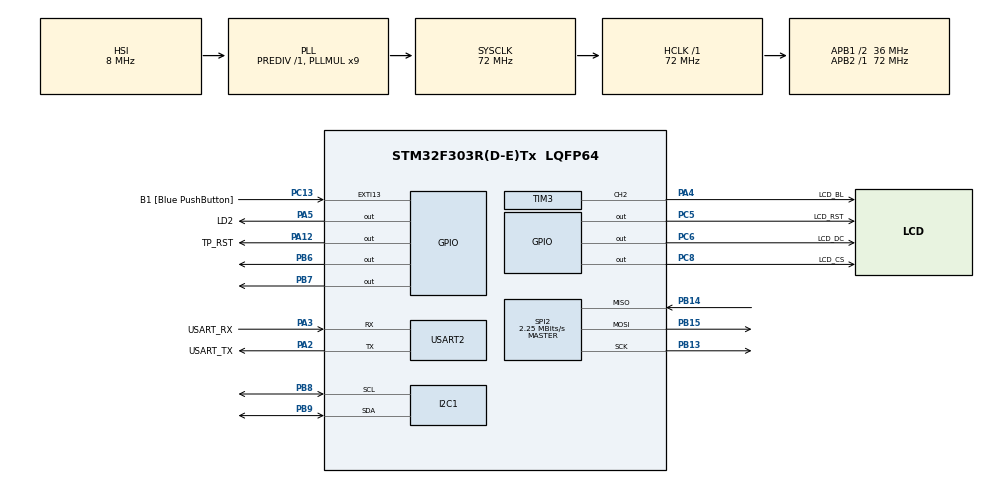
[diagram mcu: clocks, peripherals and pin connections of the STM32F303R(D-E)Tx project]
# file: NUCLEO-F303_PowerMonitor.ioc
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Dma.Request0=SPI2_TX
Dma.SPI2_TX.0.Direction=DMA_MEMORY_TO_PERIPH
Dma.SPI2_TX.0.Instance=DMA1_Channel5
Dma.SPI2_TX.0.MemDataAlignment=DMA_MDATAALIGN_BYTE
Dma.SPI2_TX.0.MemInc=DMA_MINC_ENABLE
Dma.SPI2_TX.0.Mode=DMA_NORMAL
Dma.SPI2_TX.0.PeriphDataAlignment=DMA_PDATAALIGN_BYTE
Dma.SPI2_TX.0.PeriphInc=DMA_PINC_DISABLE
Dma.SPI2_TX.0.Priority=DMA_PRIORITY_LOW
I2C1.Timing=0x00201D2B
Mcu.Family=STM32F3
Mcu.Name=STM32F303R(D-E)Tx
Mcu.Package=LQFP64
NVIC.DMA1_Channel5_IRQn=true\:0\:0\:false\:false\:true\:false\:true\:true
NVIC.PriorityGroup=NVIC_PRIORITYGROUP_0
PA12.GPIO_Label=TP_RST
PA12.Signal=GPIO_Output
PA13.GPIO_Label=TMS
PA13.Mode=Serial_Wire
PA13.Signal=SYS_JTMS-SWDIO
PA14.GPIO_Label=TCK
PA14.Mode=Serial_Wire
PA14.Signal=SYS_JTCK-SWCLK
PA2.GPIO_Label=USART_TX
PA2.GPIO_Mode=GPIO_MODE_AF_PP
PA2.GPIO_PuPd=GPIO_NOPULL
PA2.GPIO_Speed=GPIO_SPEED_FREQ_LOW
PA2.Mode=Asynchronous
PA2.Signal=USART2_TX
PA3.GPIO_Label=USART_RX
PA3.GPIO_Mode=GPIO_MODE_AF_PP
PA3.GPIO_PuPd=GPIO_NOPULL
PA3.GPIO_Speed=GPIO_SPEED_FREQ_LOW
PA3.Mode=Asynchronous
PA3.Signal=USART2_RX
PA4.GPIO_Label=LCD_BL
PA4.Signal=S_TIM3_CH2
PA5.GPIO_Label=LD2
PA5.Signal=GPIO_Output
PB13.Mode=Full_Duplex_Master
PB13.Signal=SPI2_SCK
PB14.Mode=Full_Duplex_Master
PB14.Signal=SPI2_MISO
PB15.Mode=Full_Duplex_Master
PB15.Signal=SPI2_MOSI
PB3.GPIO_Label=SWO
PB3.Signal=SYS_JTDO-TRACESWO
PB6.Signal=GPIO_Output
PB7.Signal=GPIO_Output
PB8.GPIO_Pu=GPIO_NOPULL
PB8.Mode=I2C
PB8.Signal=I2C1_SCL
PB9.GPIO_Pu=GPIO_NOPULL
PB9.Mode=I2C
PB9.Signal=I2C1_SDA
PC13.GPIO_Label=B1 [Blue PushButton]
PC13.GPIO_ModeDefaultEXTI=GPIO_MODE_IT_FALLING
PC13.Signal=GPXTI13
PC14-OSC32_IN.Mode=LSE-External-Oscillator
PC14-OSC32_IN.Signal=RCC_OSC32_IN
PC15-OSC32_OUT.Mode=LSE-External-Oscillator
PC15-OSC32_OUT.Signal=RCC_OSC32_OUT
PC5.GPIO_Label=LCD_RST
PC5.GPIO_Speed=GPIO_SPEED_FREQ_HIGH
PC5.Signal=GPIO_Output
PC6.GPIO_Label=LCD_DC
PC6.GPIO_Speed=GPIO_SPEED_FREQ_HIGH
PC6.Signal=GPIO_Output
PC8.GPIO_Label=LCD_CS
PC8.GPIO_Speed=GPIO_SPEED_FREQ_HIGH
PC8.Signal=GPIO_Output
PF0-OSC_IN.Mode=HSE-External-Clock-Source
PF0-OSC_IN.Signal=RCC_OSC_IN
PF1-OSC_OUT.Signal=RCC_OSC_OUT
ProjectManager.HeapSize=0x200
ProjectManager.StackSize=0x400
ProjectManager.TargetToolchain=CMake
RCC.AHBFreq_Value=72000000
RCC.APB1CLKDivider=RCC_HCLK_DIV2
RCC.APB1Freq_Value=36000000
RCC.APB1TimFreq_Value=72000000
RCC.APB2Freq_Value=72000000
RCC.APB2TimFreq_Value=72000000
RCC.CortexFreq_Value=72000000
RCC.HCLKFreq_Value=72000000
RCC.HSE_VALUE=8000000
RCC.HSI_VALUE=8000000
RCC.PLLM=8
RCC.PLLMUL=RCC_PLL_MUL9
RCC.PLLN=336
RCC.PLLP=RCC_PLLP_DIV4
RCC.PLLQ=7
RCC.RCC_PLLsource_Clock_Source_FROM_HSE=RCC_HSE_PREDIV_DIV2
RCC.SYSCLKFreq_VALUE=72000000
RCC.SYSCLKSourceVirtual=RCC_SYSCLKSOURCE_PLLCLK
RCC.USBFreq_Value=72000000
SH.S_TIM3_CH2.0=TIM3_CH2,PWM Generation2 CH2
SPI2.BaudRatePrescaler=SPI_BAUDRATEPRESCALER_16
SPI2.CalculateBaudRate=2.25 MBits/s
SPI2.DataSize=SPI_DATASIZE_8BIT
SPI2.Direction=SPI_DIRECTION_2LINES
SPI2.Mode=SPI_MODE_MASTER
SPI2.VirtualType=VM_MASTER
TIM3.Channel-PWM\ Generation2\ CH2=TIM_CHANNEL_2
TIM3.Period=1000-1
TIM3.Prescaler=72-1
TIM3.Pulse-PWM\ Generation2\ CH2=500
USART2.VirtualMode-Asynchronous=VM_ASYNC
VP_TIM3_VS_ClockSourceINT.Mode=Internal
board=NUCLEO-F303RE

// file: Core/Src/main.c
/* USER CODE BEGIN Header */
/**
  ******************************************************************************
  * @file           : main.c
  * @brief          : Main program body
  ******************************************************************************
  * @attention
  *
  * Copyright (c) 2026 STMicroelectronics.
  * All rights reserved.
  *
  * This software is licensed under terms that can be found in the LICENSE file
  * in the root directory of this software component.
  * If no LICENSE file comes with this software, it is provided AS-IS.
  *
  ******************************************************************************
  */
/* USER CODE END Header */
#include "main.h"

/* USER CODE BEGIN Includes */
#include "lvgl.h"
#include "Display_Driver.h"
#include "ui.h"
#include "screens.h"
#include "stm32f3xx_hal.h"
/* USER CODE END Includes */

I2C_HandleTypeDef hi2c1;

SPI_HandleTypeDef hspi2;
DMA_HandleTypeDef hdma_spi2_tx;

TIM_HandleTypeDef htim3;

UART_HandleTypeDef huart2;

void SystemClock_Config(void);
static void MX_GPIO_Init(void);
static void MX_DMA_Init(void);
static void MX_I2C1_Init(void);
static void MX_USART2_UART_Init(void);
static void MX_TIM3_Init(void);
static void MX_SPI2_Init(void);

int main(void)
{

  /* MCU Configuration--------------------------------------------------------*/

  /* Reset of all peripherals, Initializes the Flash interface and the Systick. */
  HAL_Init();

  /* Configure the system clock */
  SystemClock_Config();

  /* Initialize all configured peripherals */
  MX_GPIO_Init();
  MX_DMA_Init();
  MX_I2C1_Init();
  MX_USART2_UART_Init();
  MX_TIM3_Init();
  MX_SPI2_Init();
  /* USER CODE BEGIN 2 */
  lv_init();

  Display_Config_HandleTypeDef disp_cfg = {
    .lcd = {
      .hspi       = &hspi2,
      .CS_Port    = LCD_CS_GPIO_Port,
      .CS_Pin     = LCD_CS_Pin,
      .DC_Port    = LCD_DC_GPIO_Port,
      .DC_Pin     = LCD_DC_Pin,
      .RST_Port   = LCD_RST_GPIO_Port,
      .RST_Pin    = LCD_RST_Pin,
      .htim_bl    = &htim3,
      .Channel_bl = TIM_CHANNEL_2
    },
    .touch = {
      .hi2c       = &hi2c1,
      .RST_Port   = TP_RST_GPIO_Port,
      .RST_Pin    = TP_RST_Pin,
      .INT_Port   = NULL,
      .INT_Pin    = 0
    }
  };

  Display_Init(&disp_cfg);
  Display_SetBrightness(100);

  /* Prueba directa: Pintar la pantalla de azul puro (0x001F) */
  ST7789_TestFill(0x001F);

  ui_init();

  uint8_t found_addr = 0;
  for (uint8_t addr = 1; addr < 128; addr++)
  {
      if (HAL_I2C_IsDeviceReady(&hi2c1, (addr << 1), 2, 20) == HAL_OK) {
          found_addr = addr;
          break;
      }
  }

  uint16_t ver = CST328_ReadConfig();
  /* 4. Mostrar el diagnóstico directamente en el botón */
  if (found_addr != 0) {
      lv_label_set_text_fmt(objects.obj1, "I2C: 0x%02X | Ver: 0x%04X", found_addr, ver);
  } else {
      lv_label_set_text(objects.obj1, "I2C: NO DEVICE FOUND");
  }
  /* USER CODE END 2 */

  /* Infinite loop */
  /* USER CODE BEGIN WHILE */
  while (1)
  {
    ui_tick();           /* Manejador de pantallas/animaciones de EEZ Studio */
    lv_timer_handler();  /* Manejador principal de LVGL */
    HAL_Delay(5);
    /* USER CODE END WHILE */

  }
}

void SystemClock_Config(void)
{
  RCC_OscInitTypeDef RCC_OscInitStruct = {0};
  RCC_ClkInitTypeDef RCC_ClkInitStruct = {0};
  RCC_PeriphCLKInitTypeDef PeriphClkInit = {0};

  /** Initializes the RCC Oscillators according to the specified parameters
  * in the RCC_OscInitTypeDef structure.
  */
  RCC_OscInitStruct.OscillatorType = RCC_OSCILLATORTYPE_HSI;
  RCC_OscInitStruct.HSIState = RCC_HSI_ON;
  RCC_OscInitStruct.HSICalibrationValue = RCC_HSICALIBRATION_DEFAULT;
  RCC_OscInitStruct.PLL.PLLState = RCC_PLL_ON;
  RCC_OscInitStruct.PLL.PLLSource = RCC_PLLSOURCE_HSI;
  RCC_OscInitStruct.PLL.PLLMUL = RCC_PLL_MUL9;
  RCC_OscInitStruct.PLL.PREDIV = RCC_PREDIV_DIV1;
  if (HAL_RCC_OscConfig(&RCC_OscInitStruct) != HAL_OK)
  {
    Error_Handler();
  }

  /** Initializes the CPU, AHB and APB buses clocks
  */
  RCC_ClkInitStruct.ClockType = RCC_CLOCKTYPE_HCLK|RCC_CLOCKTYPE_SYSCLK
                              |RCC_CLOCKTYPE_PCLK1|RCC_CLOCKTYPE_PCLK2;
  RCC_ClkInitStruct.SYSCLKSource = RCC_SYSCLKSOURCE_PLLCLK;
  RCC_ClkInitStruct.AHBCLKDivider = RCC_SYSCLK_DIV1;
  RCC_ClkInitStruct.APB1CLKDivider = RCC_HCLK_DIV2;
  RCC_ClkInitStruct.APB2CLKDivider = RCC_HCLK_DIV1;

  if (HAL_RCC_ClockConfig(&RCC_ClkInitStruct, FLASH_LATENCY_2) != HAL_OK)
  {
    Error_Handler();
  }
  PeriphClkInit.PeriphClockSelection = RCC_PERIPHCLK_USART2|RCC_PERIPHCLK_I2C1
                              |RCC_PERIPHCLK_TIM34;
  PeriphClkInit.Usart2ClockSelection = RCC_USART2CLKSOURCE_PCLK1;
  PeriphClkInit.I2c1ClockSelection = RCC_I2C1CLKSOURCE_HSI;
  PeriphClkInit.Tim34ClockSelection = RCC_TIM34CLK_HCLK;
  if (HAL_RCCEx_PeriphCLKConfig(&PeriphClkInit) != HAL_OK)
  {
    Error_Handler();
  }
}

static void MX_I2C1_Init(void)
{

  hi2c1.Instance = I2C1;
  hi2c1.Init.Timing = 0x00201D2B;
  hi2c1.Init.OwnAddress1 = 0;
  hi2c1.Init.AddressingMode = I2C_ADDRESSINGMODE_7BIT;
  hi2c1.Init.DualAddressMode = I2C_DUALADDRESS_DISABLE;
  hi2c1.Init.OwnAddress2 = 0;
  hi2c1.Init.OwnAddress2Masks = I2C_OA2_NOMASK;
  hi2c1.Init.GeneralCallMode = I2C_GENERALCALL_DISABLE;
  hi2c1.Init.NoStretchMode = I2C_NOSTRETCH_DISABLE;
  if (HAL_I2C_Init(&hi2c1) != HAL_OK)
  {
    Error_Handler();
  }

  /** Configure Analogue filter
  */
  if (HAL_I2CEx_ConfigAnalogFilter(&hi2c1, I2C_ANALOGFILTER_ENABLE) != HAL_OK)
  {
    Error_Handler();
  }

  /** Configure Digital filter
  */
  if (HAL_I2CEx_ConfigDigitalFilter(&hi2c1, 0) != HAL_OK)
  {
    Error_Handler();
  }

}

static void MX_SPI2_Init(void)
{

  /* SPI2 parameter configuration*/
  hspi2.Instance = SPI2;
  hspi2.Init.Mode = SPI_MODE_MASTER;
  hspi2.Init.Direction = SPI_DIRECTION_2LINES;
  hspi2.Init.DataSize = SPI_DATASIZE_8BIT;
  hspi2.Init.CLKPolarity = SPI_POLARITY_LOW;
  hspi2.Init.CLKPhase = SPI_PHASE_1EDGE;
  hspi2.Init.NSS = SPI_NSS_SOFT;
  hspi2.Init.BaudRatePrescaler = SPI_BAUDRATEPRESCALER_16;
  hspi2.Init.FirstBit = SPI_FIRSTBIT_MSB;
  hspi2.Init.TIMode = SPI_TIMODE_DISABLE;
  hspi2.Init.CRCCalculation = SPI_CRCCALCULATION_DISABLE;
  hspi2.Init.CRCPolynomial = 7;
  hspi2.Init.CRCLength = SPI_CRC_LENGTH_DATASIZE;
  hspi2.Init.NSSPMode = SPI_NSS_PULSE_ENABLE;
  if (HAL_SPI_Init(&hspi2) != HAL_OK)
  {
    Error_Handler();
  }

}

static void MX_TIM3_Init(void)
{

  TIM_ClockConfigTypeDef sClockSourceConfig = {0};
  TIM_MasterConfigTypeDef sMasterConfig = {0};
  TIM_OC_InitTypeDef sConfigOC = {0};

  htim3.Instance = TIM3;
  htim3.Init.Prescaler = 72-1;
  htim3.Init.CounterMode = TIM_COUNTERMODE_UP;
  htim3.Init.Period = 1000-1;
  htim3.Init.ClockDivision = TIM_CLOCKDIVISION_DIV1;
  htim3.Init.AutoReloadPreload = TIM_AUTORELOAD_PRELOAD_DISABLE;
  if (HAL_TIM_Base_Init(&htim3) != HAL_OK)
  {
    Error_Handler();
  }
  sClockSourceConfig.ClockSource = TIM_CLOCKSOURCE_INTERNAL;
  if (HAL_TIM_ConfigClockSource(&htim3, &sClockSourceConfig) != HAL_OK)
  {
    Error_Handler();
  }
  if (HAL_TIM_PWM_Init(&htim3) != HAL_OK)
  {
    Error_Handler();
  }
  sMasterConfig.MasterOutputTrigger = TIM_TRGO_RESET;
  sMasterConfig.MasterSlaveMode = TIM_MASTERSLAVEMODE_DISABLE;
  if (HAL_TIMEx_MasterConfigSynchronization(&htim3, &sMasterConfig) != HAL_OK)
  {
    Error_Handler();
  }
  sConfigOC.OCMode = TIM_OCMODE_PWM1;
  sConfigOC.Pulse = 500;
  sConfigOC.OCPolarity = TIM_OCPOLARITY_HIGH;
  sConfigOC.OCFastMode = TIM_OCFAST_DISABLE;
  if (HAL_TIM_PWM_ConfigChannel(&htim3, &sConfigOC, TIM_CHANNEL_2) != HAL_OK)
  {
    Error_Handler();
  }
  HAL_TIM_MspPostInit(&htim3);

}

static void MX_USART2_UART_Init(void)
{

  huart2.Instance = USART2;
  huart2.Init.BaudRate = 38400;
  huart2.Init.WordLength = UART_WORDLENGTH_8B;
  huart2.Init.StopBits = UART_STOPBITS_1;
  huart2.Init.Parity = UART_PARITY_NONE;
  huart2.Init.Mode = UART_MODE_TX_RX;
  huart2.Init.HwFlowCtl = UART_HWCONTROL_NONE;
  huart2.Init.OverSampling = UART_OVERSAMPLING_16;
  huart2.Init.OneBitSampling = UART_ONE_BIT_SAMPLE_DISABLE;
  huart2.AdvancedInit.AdvFeatureInit = UART_ADVFEATURE_NO_INIT;
  if (HAL_UART_Init(&huart2) != HAL_OK)
  {
    Error_Handler();
  }

}

static void MX_DMA_Init(void)
{

  /* DMA controller clock enable */
  __HAL_RCC_DMA1_CLK_ENABLE();

  /* DMA interrupt init */
  /* DMA1_Channel5_IRQn interrupt configuration */
  HAL_NVIC_SetPriority(DMA1_Channel5_IRQn, 0, 0);
  HAL_NVIC_EnableIRQ(DMA1_Channel5_IRQn);

}

static void MX_GPIO_Init(void)
{
  GPIO_InitTypeDef GPIO_InitStruct = {0};

  /* GPIO Ports Clock Enable */
  __HAL_RCC_GPIOC_CLK_ENABLE();
  __HAL_RCC_GPIOF_CLK_ENABLE();
  __HAL_RCC_GPIOA_CLK_ENABLE();
  __HAL_RCC_GPIOB_CLK_ENABLE();

  /*Configure GPIO pin Output Level */
  HAL_GPIO_WritePin(GPIOA, LD2_Pin|TP_RST_Pin, GPIO_PIN_RESET);

  /*Configure GPIO pin Output Level */
  HAL_GPIO_WritePin(GPIOC, LCD_RST_Pin|LCD_DC_Pin|LCD_CS_Pin, GPIO_PIN_RESET);

  /*Configure GPIO pin Output Level */
  HAL_GPIO_WritePin(GPIOB, GPIO_PIN_6|GPIO_PIN_7, GPIO_PIN_RESET);

  /*Configure GPIO pin : B1_Pin */
  GPIO_InitStruct.Pin = B1_Pin;
  GPIO_InitStruct.Mode = GPIO_MODE_IT_FALLING;
  GPIO_InitStruct.Pull = GPIO_NOPULL;
  HAL_GPIO_Init(B1_GPIO_Port, &GPIO_InitStruct);

  /*Configure GPIO pins : LD2_Pin TP_RST_Pin */
  GPIO_InitStruct.Pin = LD2_Pin|TP_RST_Pin;
  GPIO_InitStruct.Mode = GPIO_MODE_OUTPUT_PP;
  GPIO_InitStruct.Pull = GPIO_NOPULL;
  GPIO_InitStruct.Speed = GPIO_SPEED_FREQ_LOW;
  HAL_GPIO_Init(GPIOA, &GPIO_InitStruct);

  /*Configure GPIO pins : LCD_RST_Pin LCD_DC_Pin LCD_CS_Pin */
  GPIO_InitStruct.Pin = LCD_RST_Pin|LCD_DC_Pin|LCD_CS_Pin;
  GPIO_InitStruct.Mode = GPIO_MODE_OUTPUT_PP;
  GPIO_InitStruct.Pull = GPIO_NOPULL;
  GPIO_InitStruct.Speed = GPIO_SPEED_FREQ_HIGH;
  HAL_GPIO_Init(GPIOC, &GPIO_InitStruct);

  /*Configure GPIO pins : PB6 PB7 */
  GPIO_InitStruct.Pin = GPIO_PIN_6|GPIO_PIN_7;
  GPIO_InitStruct.Mode = GPIO_MODE_OUTPUT_PP;
  GPIO_InitStruct.Pull = GPIO_NOPULL;
  GPIO_InitStruct.Speed = GPIO_SPEED_FREQ_LOW;
  HAL_GPIO_Init(GPIOB, &GPIO_InitStruct);

}

void Error_Handler(void)
{
  __disable_irq();
  while (1)
  {
  }
}
